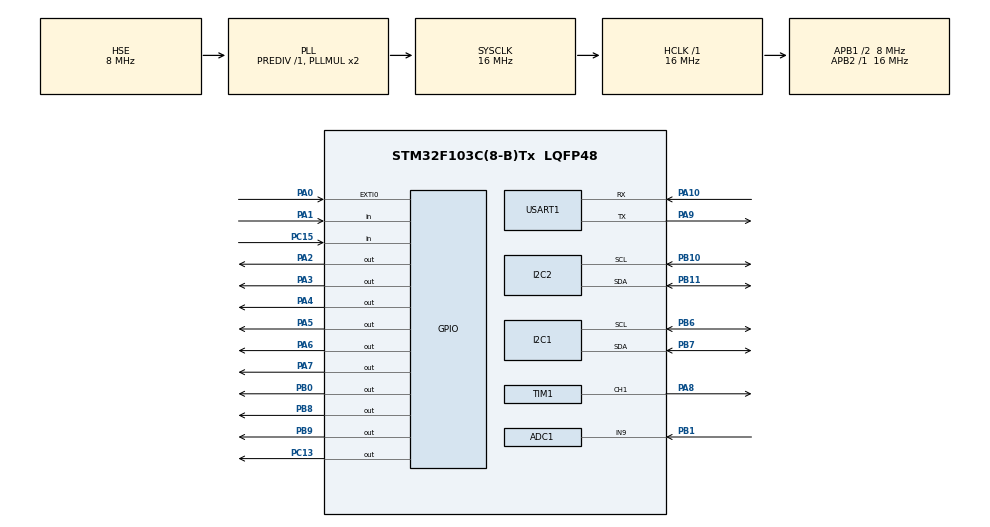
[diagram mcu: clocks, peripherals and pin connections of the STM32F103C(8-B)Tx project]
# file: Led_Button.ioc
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ADC1.Channel-1\#ChannelRegularConversion=ADC_CHANNEL_9
ADC1.NbrOfConversionFlag=1
ADC1.Rank-1\#ChannelRegularConversion=1
ADC1.SamplingTime-1\#ChannelRegularConversion=ADC_SAMPLETIME_1CYCLE_5
ADC1.master=1
Dma.Request0=USART1_RX
Dma.Request1=USART1_TX
Dma.USART1_RX.0.Direction=DMA_PERIPH_TO_MEMORY
Dma.USART1_RX.0.Instance=DMA1_Channel5
Dma.USART1_RX.0.MemDataAlignment=DMA_MDATAALIGN_BYTE
Dma.USART1_RX.0.MemInc=DMA_MINC_ENABLE
Dma.USART1_RX.0.Mode=DMA_NORMAL
Dma.USART1_RX.0.PeriphDataAlignment=DMA_PDATAALIGN_BYTE
Dma.USART1_RX.0.PeriphInc=DMA_PINC_DISABLE
Dma.USART1_RX.0.Priority=DMA_PRIORITY_LOW
Dma.USART1_TX.1.Direction=DMA_MEMORY_TO_PERIPH
Dma.USART1_TX.1.Instance=DMA1_Channel4
Dma.USART1_TX.1.MemDataAlignment=DMA_MDATAALIGN_BYTE
Dma.USART1_TX.1.MemInc=DMA_MINC_ENABLE
Dma.USART1_TX.1.Mode=DMA_CIRCULAR
Dma.USART1_TX.1.PeriphDataAlignment=DMA_PDATAALIGN_BYTE
Dma.USART1_TX.1.PeriphInc=DMA_PINC_DISABLE
Dma.USART1_TX.1.Priority=DMA_PRIORITY_LOW
I2C1.I2C_Mode=I2C_Fast
I2C2.I2C_Mode=I2C_Fast
Mcu.Family=STM32F1
Mcu.Name=STM32F103C(8-B)Tx
Mcu.Package=LQFP48
NVIC.DMA1_Channel4_IRQn=true\:0\:0\:false\:false\:true\:false\:true\:true
NVIC.DMA1_Channel5_IRQn=true\:0\:0\:false\:false\:true\:false\:true\:true
NVIC.EXTI0_IRQn=true\:0\:0\:false\:false\:true\:true\:true\:true
NVIC.PriorityGroup=NVIC_PRIORITYGROUP_4
NVIC.TIM2_IRQn=true\:0\:0\:false\:false\:true\:true\:true\:true
NVIC.TIM3_IRQn=true\:0\:0\:false\:false\:true\:true\:true\:true
NVIC.USART1_IRQn=true\:0\:0\:false\:false\:true\:true\:true\:true
PA0-WKUP.GPIO_ModeDefaultEXTI=GPIO_MODE_IT_FALLING
PA0-WKUP.Signal=GPXTI0
PA1.Signal=GPIO_Input
PA10.Mode=Asynchronous
PA10.Signal=USART1_RX
PA13.Mode=Serial_Wire
PA13.Signal=SYS_JTMS-SWDIO
PA14.Mode=Serial_Wire
PA14.Signal=SYS_JTCK-SWCLK
PA2.Signal=GPIO_Output
PA3.Signal=GPIO_Output
PA4.GPIO_PuPd=GPIO_PULLUP
PA4.Signal=GPIO_Output
PA5.Signal=GPIO_Output
PA6.Signal=GPIO_Output
PA7.Signal=GPIO_Output
PA8.Signal=S_TIM1_CH1
PA9.Mode=Asynchronous
PA9.Signal=USART1_TX
PB0.Signal=GPIO_Output
PB1.Signal=ADCx_IN9
PB10.Mode=I2C
PB10.Signal=I2C2_SCL
PB11.Mode=I2C
PB11.Signal=I2C2_SDA
PB6.Mode=I2C
PB6.Signal=I2C1_SCL
PB7.Mode=I2C
PB7.Signal=I2C1_SDA
PB8.Signal=GPIO_Output
PB9.Signal=GPIO_Output
PC13-TAMPER-RTC.Signal=GPIO_Output
PC15-OSC32_OUT.GPIO_PuPd=GPIO_PULLUP
PC15-OSC32_OUT.Signal=GPIO_Input
PD0-OSC_IN.Mode=HSE-External-Oscillator
PD0-OSC_IN.Signal=RCC_OSC_IN
PD1-OSC_OUT.Mode=HSE-External-Oscillator
PD1-OSC_OUT.Signal=RCC_OSC_OUT
ProjectManager.HeapSize=0x200
ProjectManager.StackSize=0x400
ProjectManager.TargetToolchain=MDK-ARM V5
RCC.AHBFreq_Value=16000000
RCC.APB1CLKDivider=RCC_HCLK_DIV2
RCC.APB1Freq_Value=8000000
RCC.APB1TimFreq_Value=16000000
RCC.APB2Freq_Value=16000000
RCC.APB2TimFreq_Value=16000000
RCC.HCLKFreq_Value=16000000
RCC.PLLSourceVirtual=RCC_PLLSOURCE_HSE
RCC.SYSCLKFreq_VALUE=16000000
RCC.SYSCLKSource=RCC_SYSCLKSOURCE_PLLCLK
RCC.USBFreq_Value=16000000
SH.ADCx_IN9.0=ADC1_IN9,IN9
SH.S_TIM1_CH1.0=TIM1_CH1,PWM Generation1 CH1
TIM1.Channel-PWM\ Generation1\ CH1=TIM_CHANNEL_1
TIM2.Period=10000-1
TIM2.Prescaler=72-1
TIM3.Period=10000-1
TIM3.Prescaler=7200-1
USART1.VirtualMode=VM_ASYNC
VP_TIM1_VS_ClockSourceINT.Mode=Internal
VP_TIM2_VS_ClockSourceINT.Mode=Internal
VP_TIM3_VS_ClockSourceINT.Mode=Internal
board=custom

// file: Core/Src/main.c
/* USER CODE BEGIN Header */
/**
  ******************************************************************************
  * @file           : main.c
  * @brief          : Main program body
  ******************************************************************************
  * @attention
  *
  * Copyright (c) 2025 STMicroelectronics.
  * All rights reserved.
  *
  * This software is licensed under terms that can be found in the LICENSE file
  * in the root directory of this software component.
  * If no LICENSE file comes with this software, it is provided AS-IS.
  *
  ******************************************************************************
  */
/* USER CODE END Header */
#include "main.h"

ADC_HandleTypeDef hadc1;

I2C_HandleTypeDef hi2c1;
I2C_HandleTypeDef hi2c2;

TIM_HandleTypeDef htim1;
TIM_HandleTypeDef htim2;
TIM_HandleTypeDef htim3;

UART_HandleTypeDef huart1;
DMA_HandleTypeDef hdma_usart1_rx;
DMA_HandleTypeDef hdma_usart1_tx;

void SystemClock_Config(void);
static void MX_GPIO_Init(void);
static void MX_DMA_Init(void);
static void MX_USART1_UART_Init(void);
static void MX_TIM1_Init(void);
static void MX_TIM2_Init(void);
static void MX_TIM3_Init(void);
static void MX_I2C2_Init(void);
static void MX_I2C1_Init(void);
static void MX_ADC1_Init(void);
/* USER CODE BEGIN PFP */
//=============INCLUDE LIBRARY=============//
#include <string.h>
#include <stdio.h>
#include <math.h>
#include <stdlib.h>

//=============DEFINE VARIABLE=============//
#define MCP4725_ADDR (0x60 << 1)

uint8_t RX_Data[17], TX_Data[29], Leech_Motor_Speed [3], LED_Status_Buffer [2], Each_Eeprom_Element[1];
uint8_t UART1_RX_Flag, LED_1_Status_Flag, LED_2_Status_Flag, LED_Status_Tracking_Flag, Store_LED_Status_Flag, Timer3_Delay_Flag, Store_Motor_Speed_Flag, Recover_Data_Flag;
uint8_t Forward_0D_Flag, Forward_45D_Flag, Forward_90D_Flag, Forward_180D_Flag, Forward_360D_Flag, Motor_Position_Tracking_Flag, Control_Motor_Speed_Flag, Control_Motor_Speed_Reverse_Flag;
uint8_t Mode_00_Flag, Mode_01_Flag, Mode_02_Flag, Mode_03_Flag, Mode_04_Flag, Mode_05_Flag, Mode_06_Flag, Mode_10_Flag;
uint8_t SRAM_Data_Address, SRAM_Read_Data, SRAM_Init_Data;
uint32_t ADC_Pt100_Zero = 0;

char *Char_RX_Data, Down_Line[] = "\r \n", RX_Hex_Data[29];
char Pulse_Buffer[13], Label_LED_Status_Buffer[13];

int pre_pulse, pulse, PWM_Duty_Cycle, Label_LED_Status;
int count, i;
int Iden_Control_Motor;
int SRAM_Case_Flag;

float setpoint = 0, Output_Voltage_Setpoint;
float pre_error, error;
float integral, derivative, duty_cycle_output;
float Kp = 10, Ki = 0.5, Kd = 0.1;
float Delta_t = 0.01;

/* USER CODE END PFP */

/* USER CODE BEGIN 0 */

//====================================EXTERNAL RAM======================================//
//======================================================================================//
//======================================================================================//

void SRAM_Set_Address(uint8_t addr)
{
	HAL_GPIO_WritePin(GPIOA, GPIO_PIN_5, (addr & 0x01) ? GPIO_PIN_SET : GPIO_PIN_RESET);
  HAL_GPIO_WritePin(GPIOA, GPIO_PIN_6, (addr & 0x02) ? GPIO_PIN_SET : GPIO_PIN_RESET);
  HAL_GPIO_WritePin(GPIOA, GPIO_PIN_7, (addr & 0x04) ? GPIO_PIN_SET : GPIO_PIN_RESET);
}

//=============CHANGE GPIO TO OUTPUT=============//
void SRAM_Write_Data(uint8_t data)
{
  HAL_GPIO_WritePin(GPIOA, GPIO_PIN_11, (data & 0x01) ? GPIO_PIN_SET : GPIO_PIN_RESET);
  HAL_GPIO_WritePin(GPIOA, GPIO_PIN_12, (data & 0x02) ? GPIO_PIN_SET : GPIO_PIN_RESET);
	HAL_GPIO_WritePin(GPIOA, GPIO_PIN_13, (data & 0x02) ? GPIO_PIN_SET : GPIO_PIN_RESET);
}

void SRAM_Write_Cycle(uint8_t address, uint8_t data)
{
  SRAM_Set_Address(address);
  SRAM_Write_Data(data);

  HAL_GPIO_WritePin(GPIOB, GPIO_PIN_0, GPIO_PIN_RESET); // !WE = 0 start write
  HAL_Delay(1);
  HAL_GPIO_WritePin(GPIOB, GPIO_PIN_0, GPIO_PIN_SET);   // !WE = 1 end write
  HAL_Delay(1);
}

//=============CHANGE GPIO TO INPUT=============//
uint8_t SRAM_ReadData(void)
{
  GPIO_InitTypeDef GPIO_InitStruct = {0};

  GPIO_InitStruct.Pin = GPIO_PIN_4 | GPIO_PIN_5 | GPIO_PIN_6;
  GPIO_InitStruct.Mode = GPIO_MODE_INPUT;
  GPIO_InitStruct.Pull = GPIO_NOPULL;
  HAL_GPIO_Init(GPIOB, &GPIO_InitStruct);

  uint8_t value = 0;
  value |= HAL_GPIO_ReadPin(GPIOB, GPIO_PIN_4) ? 0x01 : 0x00;
  value |= HAL_GPIO_ReadPin(GPIOB, GPIO_PIN_5) ? 0x02 : 0x00;
  value |= HAL_GPIO_ReadPin(GPIOB, GPIO_PIN_6) ? 0x04 : 0x00;

  GPIO_InitStruct.Mode = GPIO_MODE_OUTPUT_PP;
  GPIO_InitStruct.Speed = GPIO_SPEED_FREQ_LOW;
  HAL_GPIO_Init(GPIOB, &GPIO_InitStruct);

  return value;
}

uint8_t SRAM_Read_Cycle(uint8_t address)
{
  SRAM_Set_Address(address);

  HAL_GPIO_WritePin(GPIOB, GPIO_PIN_9, GPIO_PIN_SET);
  HAL_GPIO_WritePin(GPIOB, GPIO_PIN_8, GPIO_PIN_RESET);
  HAL_Delay(1);

  uint8_t data = SRAM_ReadData();

  HAL_GPIO_WritePin(GPIOB, GPIO_PIN_8, GPIO_PIN_SET);

  return data;
}

//=============CHECK SRAM COMMUNICATION=============//
void LED_Show(uint8_t data)
{
  HAL_GPIO_WritePin(GPIOB, GPIO_PIN_8, (data & 0x01) ? GPIO_PIN_SET : GPIO_PIN_RESET);
  HAL_GPIO_WritePin(GPIOB, GPIO_PIN_9, (data & 0x02) ? GPIO_PIN_SET : GPIO_PIN_RESET);
}

void SRAM_Set_Data()
{
	for (SRAM_Data_Address = 0, SRAM_Init_Data = 0; SRAM_Data_Address < 8; SRAM_Data_Address++)
		{
			SRAM_Init_Data ++;
																																																																																																																																																																																									if (SRAM_Init_Data > 7)	{SRAM_Case_Flag = 1;} else {SRAM_Case_Flag = 0;}
			uint8_t data = SRAM_Init_Data & 0x03;
			SRAM_Write_Cycle(SRAM_Data_Address, data);
			HAL_Delay(100);
		}
}

//=============READ DATA FROM SRAM=============//
void SRAM_Read_And_Check_Data()
{
	Mode_10_Flag = 0;
	for (SRAM_Data_Address = 0; SRAM_Data_Address < 8; SRAM_Data_Address++)
	{
		SRAM_Set_Address(SRAM_Data_Address);
		SRAM_Read_Data = SRAM_Read_Cycle(SRAM_Data_Address);
																																																																																																																																																																																										if (SRAM_Case_Flag == 1){SRAM_Read_Data = SRAM_Data_Address & 0x03;} else {SRAM_Read_Data = SRAM_Init_Data;}
		LED_Show(SRAM_Read_Data);

		HAL_Delay(500);
	}
}

//=======================================EEPROM=========================================//
//======================================================================================//
//======================================================================================//

void Recover_Data ()
{
	Recover_Data_Flag = 1;

	for(int i = 0, j = 0; i <= 2; i++)
	{
		HAL_I2C_Mem_Read(&hi2c1, 0xA0, i, 2, Each_Eeprom_Element, 1, 100);
		LED_Status_Buffer[j] = Each_Eeprom_Element[0];
		j++;
	}

	if (LED_Status_Buffer[0] == 0)
	{
		HAL_GPIO_WritePin(GPIOC, GPIO_PIN_13, 1);

		Label_LED_Status = 1000;
		int len = sprintf(Label_LED_Status_Buffer, "%d\r\n", Label_LED_Status);
		HAL_UART_Transmit (&huart1, (uint8_t *)Label_LED_Status_Buffer, len, HAL_MAX_DELAY);
	}
	else if (LED_Status_Buffer[0] == 1)
	{
		HAL_GPIO_WritePin(GPIOC, GPIO_PIN_13, 0);

		Label_LED_Status = 1001;
		int len = sprintf(Label_LED_Status_Buffer, "%d\r\n", Label_LED_Status);
		HAL_UART_Transmit (&huart1, (uint8_t *)Label_LED_Status_Buffer, len, HAL_MAX_DELAY);
	}

	if (LED_Status_Buffer[1] == 0)
	{
		HAL_GPIO_WritePin(GPIOA, GPIO_PIN_4, 0);

		Label_LED_Status = 1010;
		int len = sprintf(Label_LED_Status_Buffer, "%d\r\n", Label_LED_Status);
		HAL_UART_Transmit (&huart1, (uint8_t *)Label_LED_Status_Buffer, len, HAL_MAX_DELAY);
	}
	else if (LED_Status_Buffer[1] == 1)
	{
		HAL_GPIO_WritePin(GPIOA, GPIO_PIN_4, 1);

		Label_LED_Status = 1011;
		int len = sprintf(Label_LED_Status_Buffer, "%d\r\n", Label_LED_Status);
		HAL_UART_Transmit (&huart1, (uint8_t *)Label_LED_Status_Buffer, len, HAL_MAX_DELAY);
	}
}

//========================================DAC===========================================//
//======================================================================================//
//======================================================================================//

void MCP4725_SetVoltage(int Output_Voltage_Setpoint)
{
	uint8_t Output_Voltage_Buffer[3];

  Output_Voltage_Buffer[0] = 0x40;
  Output_Voltage_Buffer[1] = (Output_Voltage_Setpoint>> 4) & 0xFF;
  Output_Voltage_Buffer[2] = (Output_Voltage_Setpoint& 0x0F) << 4;

  HAL_I2C_Master_Transmit(&hi2c2, MCP4725_ADDR, Output_Voltage_Buffer, 3, HAL_MAX_DELAY);
}

void Change_Output_Voltage ()
{
	if (strncmp(Char_RX_Data, "00060000011", sizeof(RX_Data)) == 0)
	{
		Mode_06_Flag = 0;
	}

	Output_Voltage_Setpoint = (RX_Data[6] - '0') + (RX_Data[7] - '0') / 10.0;
	MCP4725_SetVoltage ((Output_Voltage_Setpoint * 4095) / 3);
}

//========================LED STATUS & MOTOR POSITION TRACKING==========================//
//======================================================================================//
//======================================================================================//

void Active_Inactive_Status_Tracking ()
{
	Timer3_Delay_Flag = 0;

	if ((LED_Status_Tracking_Flag == 0) && (Motor_Position_Tracking_Flag == 0))
	{
		Mode_03_Flag = 0;
	}

	if (LED_Status_Tracking_Flag == 0)
	{
		;
	}
	else if (LED_Status_Tracking_Flag == 1)
	{
		if (LED_1_Status_Flag == 1)
		{
			strcpy((char *)TX_Data, "LED 1 On \r\n");
			int len = strlen((char *)TX_Data);
			HAL_UART_Transmit (&huart1, (uint8_t *)TX_Data, len, HAL_MAX_DELAY);
		}
		else if (LED_1_Status_Flag == 0)
		{
			strcpy((char *)TX_Data, "LED 1 Off \r\n");
			int len = strlen((char *)TX_Data);
			HAL_UART_Transmit (&huart1, (uint8_t *)TX_Data, len, HAL_MAX_DELAY);
		}

		if (LED_2_Status_Flag == 1)
		{
			strcpy((char *)TX_Data, "LED 2 On \r\n");
			int len = strlen((char *)TX_Data);
			HAL_UART_Transmit (&huart1, (uint8_t *)TX_Data, len, HAL_MAX_DELAY);
		}
		else if (LED_2_Status_Flag == 0)
		{
			strcpy((char *)TX_Data, "LED 2 Off \r\n");
			int len = strlen((char *)TX_Data);
			HAL_UART_Transmit (&huart1, (uint8_t *)TX_Data, len, HAL_MAX_DELAY);
		}
	}

	if (Motor_Position_Tracking_Flag == 0)
	{
		;
	}
	else if (Motor_Position_Tracking_Flag == 1)
	{
		if (Forward_45D_Flag == 1)
		{
			strcpy((char *)TX_Data, "Motor position: 45 \r\n");
			int len = strlen((char *)TX_Data);
			HAL_UART_Transmit (&huart1, (uint8_t *)TX_Data, len, HAL_MAX_DELAY);
		}
		else if (Forward_90D_Flag == 1)
		{
			strcpy((char *)TX_Data, "Motor position: 90 \r\n");
			int len = strlen((char *)TX_Data);
			HAL_UART_Transmit (&huart1, (uint8_t *)TX_Data, len, HAL_MAX_DELAY);
		}
		else if (Forward_180D_Flag == 1)
		{
			strcpy((char *)TX_Data, "Motor position: 180 \r\n");
			int len = strlen((char *)TX_Data);
			HAL_UART_Transmit (&huart1, (uint8_t *)TX_Data, len, HAL_MAX_DELAY);
		}
		else if (Forward_360D_Flag == 1)
		{
			strcpy((char *)TX_Data, "Motor position: 360 \r\n");
			int len = strlen((char *)TX_Data);
			HAL_UART_Transmit (&huart1, (uint8_t *)TX_Data, len, HAL_MAX_DELAY);
		}
	}
}

//=====================================DRAW GRAPH=======================================//
//======================================================================================//
//======================================================================================//

void Pulse_Transmit_Via_Com ()
{
	int len = sprintf(Pulse_Buffer, "%d\r\n",pulse);
	HAL_UART_Transmit (&huart1, (uint8_t *)Pulse_Buffer, len, HAL_MAX_DELAY);
	HAL_Delay(5);
}

//====================================CONTROL MOTOR=====================================//
//======================================================================================//
//======================================================================================//

//=============CHANGE MOTOR POSITION=============//
void Change_Motor_Position ()
{
	Mode_01_Flag = 0;

	if (Iden_Control_Motor % 2 == 1)
	{
		//FORWARD 0 DEG//
		if (Forward_0D_Flag == 1)
		{
			count++;
			setpoint = 0;
			Kp = 10;
			Ki = 0.5;
			Kd = 0.1;

			Forward_0D_Flag = 0;
		}

		//FORWARD 45 DEG//
		if (Forward_45D_Flag == 1)
		{
			setpoint = 224/8;
			Kp = 10;
			Ki = 0.5;
			Kd = 0.1;

			Forward_45D_Flag = 0;
		}

		//FORWARD 90 DEG//
		if (Forward_90D_Flag == 1)
		{
			setpoint = 224/4;
			Kp = 10;
			Ki = 0.5;
			Kd = 0.1;

			Forward_90D_Flag = 0;
}

		//FORWARD 180 DEG//
		if (Forward_180D_Flag == 1)
		{
			setpoint = 224/2;
			Kp = 20;
			Ki = 0.5;
			Kd = 0.1;

			Forward_180D_Flag = 0;
		}

		//FORWARD 360 DEG//
		if (Forward_360D_Flag == 1)
		{
			setpoint = setpoint + 224/1;
			Kp = 20;
			Ki = 0.5;
			Kd = 0.01;

			Forward_360D_Flag = 0;
		}
	}
}

//=============GENERATE PWM SIGNAL BY TIMER 1=============//

void Generate_PWM (TIM_HandleTypeDef *htim, uint32_t Channel, float Duty_Cycle)
{
	Duty_Cycle = Duty_Cycle / 100 * htim->Instance->ARR;
	__HAL_TIM_SET_COMPARE(&htim1, Channel, (uint16_t)Duty_Cycle);
}

//=============CONTROL POSITION=============//

void Control_Forward ()
{
	HAL_GPIO_WritePin(GPIOA, GPIO_PIN_2, 0);
	HAL_GPIO_WritePin(GPIOA, GPIO_PIN_3, 1);
	HAL_GPIO_WritePin(GPIOA, GPIO_PIN_8, 1);
}

void Control_Reverse ()
{
	HAL_GPIO_WritePin(GPIOA, GPIO_PIN_2, 1);
	HAL_GPIO_WritePin(GPIOA, GPIO_PIN_3, 0);
	HAL_GPIO_WritePin(GPIOA, GPIO_PIN_8, 1);
}

void Control_Stop ()
{
	HAL_GPIO_WritePin(GPIOA, GPIO_PIN_2, 0);
	HAL_GPIO_WritePin(GPIOA, GPIO_PIN_3, 0);
	HAL_GPIO_WritePin(GPIOA, GPIO_PIN_8, 0);
}

void Control_Position ()
{
	if (duty_cycle_output > 0)
	{
		Control_Forward();
		Generate_PWM(&htim1, TIM_CHANNEL_1, duty_cycle_output);
	}

	if (duty_cycle_output < 0)
	{
		Control_Reverse();
		Generate_PWM(&htim1, TIM_CHANNEL_1, - duty_cycle_output);
	}

	if (duty_cycle_output == 0)
	{
		Control_Stop();
		Generate_PWM(&htim1, TIM_CHANNEL_1, duty_cycle_output);
	}
}

//=============CONTROL MOTOR SPEED=============//

void Control_Motor_Speed ()
{
	Mode_04_Flag = 0;

	if (Control_Motor_Speed_Flag == 1)
	{
		HAL_TIM_Base_Stop_IT (&htim2);	//Disable encoder timer2 response interupt avoid PID conflict

		HAL_TIM_PWM_Start(&htim1,TIM_CHANNEL_1);

		if (Control_Motor_Speed_Reverse_Flag == 1)
		{
			Control_Reverse ();
		}
		else
		{
			Control_Forward ();
			memcpy(Leech_Motor_Speed, &RX_Data[5], 3);
		}

		PWM_Duty_Cycle = atoi((char*)Leech_Motor_Speed);
		Generate_PWM (&htim1, TIM_CHANNEL_1, PWM_Duty_Cycle);
	}
	else if (Control_Motor_Speed_Flag == 0)
	{
		HAL_TIM_Base_Start_IT (&htim2);
		Generate_PWM (&htim1, TIM_CHANNEL_1, 0);
		pulse = 0;
	}
}

//=============ENCODER PULSE COUNTING=============//

void HAL_GPIO_EXTI_Callback(uint16_t GPIO_Pin)
{
	if (HAL_GPIO_ReadPin(GPIOA, GPIO_PIN_1) == 0)
	{
		pulse++;
	}
	else
	{
		pulse--;
	}
}

//=============PID CACULATION & ACTIVE TIMER INTERUPT=============//

void HAL_TIM_PeriodElapsedCallback(TIM_HandleTypeDef *htim)
{
	if (htim == &htim2)
	{
		error = setpoint - pulse;
		integral = integral + (error * Delta_t);
		derivative = (error - pre_error) / Delta_t;
		duty_cycle_output = 	(Kp * error) + (Ki * integral) + (Kd * derivative);

		if (duty_cycle_output > 100)
		{
			duty_cycle_output = 100;
		}

		if (duty_cycle_output < -100)
		{
			duty_cycle_output = -100;
		}

		pre_error = error;

		Control_Position();
	}

	if (htim == &htim3)
	{
		Timer3_Delay_Flag = 1;
	}

}

//=================================UART COMMUNICATTION==================================//
//======================================================================================//
//======================================================================================//

//=============UART RECEIVE CHECKING=============//

void HAL_UARTEx_RxEventCallback (UART_HandleTypeDef *huart, uint16_t Size)
{
	if (huart->Instance == USART1)
	{
			UART1_RX_Flag = 1;
	}
}

//=============UART RECEIVE PROCESSING=============//

void UART1_RX_Processing ()
{
	UART1_RX_Flag = 0;

	HAL_UARTEx_ReceiveToIdle_DMA (&huart1, RX_Data, sizeof(RX_Data));

	Char_RX_Data = (char*)RX_Data;

	//MODE 00 - CONTROL LED//
	if ((strncmp(Char_RX_Data, "0000", 4) == 0) && (strncmp(&Char_RX_Data[9], "1", 1) == 0))
	{
		Mode_00_Flag = 1;

		if (strncmp(Char_RX_Data, "00000000011", sizeof(RX_Data)) == 0)
		{
			LED_1_Status_Flag = 0;
		}
		else if (strncmp(Char_RX_Data, "00000001011", sizeof(RX_Data)) == 0)
		{
			LED_1_Status_Flag = 1;
		}

		if (strncmp(Char_RX_Data, "00000010011", sizeof(RX_Data)) == 0)
		{
			LED_2_Status_Flag = 0;
		}
		else if (strncmp(Char_RX_Data, "00000011011", sizeof(RX_Data)) == 0)
		{
			LED_2_Status_Flag = 1;
		}
	}

	//MODE 01 - CONTROL MOTOR POSITION//
	if ((strncmp(Char_RX_Data, "0001", 4) == 0) && (strncmp(&Char_RX_Data[9], "1", 1) == 0))
	{
		Mode_01_Flag = 1;

		if (strncmp(Char_RX_Data, "00010000011", sizeof(RX_Data)) == 0)
		{
			Forward_0D_Flag = 1;
		}

		if (strncmp(Char_RX_Data, "0001002D011", sizeof(RX_Data)) == 0)
		{
			Forward_45D_Flag = 1;
		}

		if (strncmp(Char_RX_Data, "0001005A011", sizeof(RX_Data)) == 0)
		{
			Forward_90D_Flag = 1;
		}

		if (strncmp(Char_RX_Data, "000100B4011", sizeof(RX_Data)) == 0)
		{
			Forward_180D_Flag = 1;
		}

		if (strncmp(Char_RX_Data, "00010168011", sizeof(RX_Data)) == 0)
		{
			Forward_360D_Flag = 1;
		}
	}

	//MODE 02 - ACTIVE/INACTIVE PULSE TRANSFERING//
	if ((strncmp(Char_RX_Data, "0002", 4) == 0) && (strncmp(&Char_RX_Data[9], "1", 1) == 0))
	{
		if (strncmp(Char_RX_Data, "00020000011", sizeof(RX_Data)) == 0)
		{
			Mode_02_Flag = 0;
		}

		if (strncmp(Char_RX_Data, "00020001011", sizeof(RX_Data)) == 0)
		{
			Mode_02_Flag = 1;
		}
	}

	//MODE 03 - ACTIVE/INACTIVE STATUS TRACKING//
	if ((strncmp(Char_RX_Data, "0003", 4) == 0) && (strncmp(&Char_RX_Data[9], "1", 1) == 0))
	{
		Mode_03_Flag = 1;

		if (strncmp(Char_RX_Data, "00030000011", sizeof(RX_Data)) == 0)
		{
			LED_Status_Tracking_Flag = 0;
		}

		else if (strncmp(Char_RX_Data, "00030001011", sizeof(RX_Data)) == 0)
		{
			LED_Status_Tracking_Flag = 1;
		}

		if (strncmp(Char_RX_Data, "00030010011", sizeof(RX_Data)) == 0)
		{
			Motor_Position_Tracking_Flag = 0;
		}

		else if (strncmp(Char_RX_Data, "00030011011", sizeof(RX_Data)) == 0)
		{
			Motor_Position_Tracking_Flag = 1;
		}
	}

	//MODE 04 - CONTROL MOTOR SPEED//
	if ((strncmp(Char_RX_Data, "0004", 4) == 0) && (strncmp(&Char_RX_Data[9], "1", 1) == 0))
	{
		Mode_04_Flag = 1;

		if ((memcmp(&Char_RX_Data[4], "0", 1) == 0) || (memcmp(&Char_RX_Data[4], "1", 1) == 0))
		{
			Control_Motor_Speed_Flag = 1;

			if (strncmp(Char_RX_Data, "00041000011", sizeof(RX_Data)) == 0)
			{
				Control_Motor_Speed_Reverse_Flag = 1;
			}

		}
		else if (memcmp(&Char_RX_Data[4], "FFFF", 4) == 0)
		{
			Control_Motor_Speed_Flag = 0;
		}
	}

	//MODE 05 - STORE LED STATUS & MOTOR SPEED//
	if ((strncmp(Char_RX_Data, "0005", 4) == 0) && (strncmp(&Char_RX_Data[9], "1", 1) == 0))
	{
		Mode_05_Flag = 1;

		if (strncmp(Char_RX_Data, "00050001011", sizeof(RX_Data)) == 0)
		{
			Store_LED_Status_Flag = 1;
		}

		if (strncmp(Char_RX_Data, "00050011011", sizeof(RX_Data)) == 0)
		{
			Store_Motor_Speed_Flag = 1;
		}
	}
	//MODE 06 - DAC//
	if ((strncmp(Char_RX_Data, "0006", 4) == 0) && (strncmp(&Char_RX_Data[9], "1", 1) == 0))
	{
		if (memcmp(&Char_RX_Data[4], "00", 2) == 0)
		{
			Mode_06_Flag = 1;
		}
	}

	//MODE 10 - EXTERNAL RAM//
	if ((strncmp(Char_RX_Data, "0010", 4) == 0) && (strncmp(&Char_RX_Data[9], "1", 1) == 0))
	{
		if (strncmp(Char_RX_Data, "00100000011", sizeof(RX_Data)) == 0)
		{
			Mode_10_Flag = 1;
		}
	}
}

//=============EEPROM PROCESSING=============//

void EEPROM_Processing ()
{
	Mode_05_Flag = 0;

	if (Store_LED_Status_Flag == 1)
	{
		for(int i = 0; i <= 2; i++)
	{
		HAL_I2C_Mem_Write(&hi2c1, 0xA0, i, 2, &LED_Status_Buffer[i], 1, 100);
		HAL_Delay(5);
	}
	}
}

//=====================================CONTROL LED======================================//
//======================================================================================//
//======================================================================================//

void LED_Control ()
{
	Mode_00_Flag = 0;

	if (LED_1_Status_Flag == 0)
	{
		HAL_GPIO_WritePin(GPIOC, GPIO_PIN_13, 1);
		LED_Status_Buffer [0] = 0;
	}
	else if (LED_1_Status_Flag == 1)
	{
		HAL_GPIO_WritePin(GPIOC, GPIO_PIN_13, 0);
		LED_Status_Buffer [0] = 1;
	}

	if (LED_2_Status_Flag == 0)
	{
		HAL_GPIO_WritePin(GPIOA, GPIO_PIN_4, 0);
		LED_Status_Buffer [1] = 0;
	}
	else if (LED_2_Status_Flag == 1)
	{
		HAL_GPIO_WritePin(GPIOA, GPIO_PIN_4, 1);
		LED_Status_Buffer [1] = 1;
	}
}

/* USER CODE END 0 */

int main(void)
{

  /* MCU Configuration--------------------------------------------------------*/

  /* Reset of all peripherals, Initializes the Flash interface and the Systick. */
  HAL_Init();

  /* Configure the system clock */
  SystemClock_Config();

  /* Initialize all configured peripherals */
  MX_GPIO_Init();
  MX_DMA_Init();
  MX_USART1_UART_Init();
  MX_TIM1_Init();
  MX_TIM2_Init();
  MX_TIM3_Init();
  MX_I2C2_Init();
  MX_I2C1_Init();
  MX_ADC1_Init();
  /* USER CODE BEGIN 2 */
	//=============ACTIVE UART RECEIVING WITH IDLE AND DMA MODE=============//
	HAL_UARTEx_ReceiveToIdle_DMA (&huart1, RX_Data, sizeof(RX_Data));

	//=============ACTIVE PWM MODE VIA TIMER=============//
	HAL_TIM_PWM_Start (&htim1, TIM_CHANNEL_1);

	//=============ACTIVE TIMER INTERUPT=============//
	HAL_TIM_Base_Start_IT (&htim2);
	HAL_TIM_Base_Start_IT (&htim3);

	//=============SET DATA TO WRITE INTO SRAM=============/
	SRAM_Set_Data();
  /* USER CODE END 2 */

  /* Infinite loop */
  /* USER CODE BEGIN WHILE */

  while (1)
  {
		HAL_ADC_Start(&hadc1);
		HAL_Delay(50);
		ADC_Pt100_Zero = HAL_ADC_GetValue(&hadc1);
		HAL_ADC_Stop(&hadc1);

		uint8_t Opto_Digital_Input = HAL_GPIO_ReadPin (GPIOC, GPIO_PIN_15);
    /* USER CODE END WHILE */

    /* USER CODE BEGIN 3 */
		if (UART1_RX_Flag == 1)
		{
			UART1_RX_Flag = 0;
			UART1_RX_Processing ();
		}

		if (Mode_00_Flag == 1)
		{
			LED_Control ();
		}

		if (Mode_01_Flag == 1)
		{
			Iden_Control_Motor++;
			Change_Motor_Position ();
		}

		if (Mode_02_Flag == 1)
		{
			Pulse_Transmit_Via_Com ();
		}

		if ((Mode_03_Flag == 1) && (Timer3_Delay_Flag == 1))
		{
			Active_Inactive_Status_Tracking ();
		}

		if (Mode_04_Flag == 1)
		{
			Control_Motor_Speed ();
		}

		if (Mode_05_Flag == 1)
		{
			EEPROM_Processing ();
		}

		if (Recover_Data_Flag == 0)
		{
			Recover_Data ();
		}

		if (Mode_06_Flag == 1)
		{
			Change_Output_Voltage ();
		}

		if (Mode_10_Flag == 1)
		{
			SRAM_Read_And_Check_Data();
		}
	}
  /* USER CODE END 3 */
}

void SystemClock_Config(void)
{
  RCC_OscInitTypeDef RCC_OscInitStruct = {0};
  RCC_ClkInitTypeDef RCC_ClkInitStruct = {0};
  RCC_PeriphCLKInitTypeDef PeriphClkInit = {0};

  /** Initializes the RCC Oscillators according to the specified parameters
  * in the RCC_OscInitTypeDef structure.
  */
  RCC_OscInitStruct.OscillatorType = RCC_OSCILLATORTYPE_HSE;
  RCC_OscInitStruct.HSEState = RCC_HSE_ON;
  RCC_OscInitStruct.HSEPredivValue = RCC_HSE_PREDIV_DIV1;
  RCC_OscInitStruct.HSIState = RCC_HSI_ON;
  RCC_OscInitStruct.PLL.PLLState = RCC_PLL_ON;
  RCC_OscInitStruct.PLL.PLLSource = RCC_PLLSOURCE_HSE;
  RCC_OscInitStruct.PLL.PLLMUL = RCC_PLL_MUL2;
  if (HAL_RCC_OscConfig(&RCC_OscInitStruct) != HAL_OK)
  {
    Error_Handler();
  }

  /** Initializes the CPU, AHB and APB buses clocks
  */
  RCC_ClkInitStruct.ClockType = RCC_CLOCKTYPE_HCLK|RCC_CLOCKTYPE_SYSCLK
                              |RCC_CLOCKTYPE_PCLK1|RCC_CLOCKTYPE_PCLK2;
  RCC_ClkInitStruct.SYSCLKSource = RCC_SYSCLKSOURCE_PLLCLK;
  RCC_ClkInitStruct.AHBCLKDivider = RCC_SYSCLK_DIV1;
  RCC_ClkInitStruct.APB1CLKDivider = RCC_HCLK_DIV2;
  RCC_ClkInitStruct.APB2CLKDivider = RCC_HCLK_DIV1;

  if (HAL_RCC_ClockConfig(&RCC_ClkInitStruct, FLASH_LATENCY_0) != HAL_OK)
  {
    Error_Handler();
  }
  PeriphClkInit.PeriphClockSelection = RCC_PERIPHCLK_ADC;
  PeriphClkInit.AdcClockSelection = RCC_ADCPCLK2_DIV2;
  if (HAL_RCCEx_PeriphCLKConfig(&PeriphClkInit) != HAL_OK)
  {
    Error_Handler();
  }
}

static void MX_ADC1_Init(void)
{

  ADC_ChannelConfTypeDef sConfig = {0};

  /** Common config
  */
  hadc1.Instance = ADC1;
  hadc1.Init.ScanConvMode = ADC_SCAN_DISABLE;
  hadc1.Init.ContinuousConvMode = DISABLE;
  hadc1.Init.DiscontinuousConvMode = DISABLE;
  hadc1.Init.ExternalTrigConv = ADC_SOFTWARE_START;
  hadc1.Init.DataAlign = ADC_DATAALIGN_RIGHT;
  hadc1.Init.NbrOfConversion = 1;
  if (HAL_ADC_Init(&hadc1) != HAL_OK)
  {
    Error_Handler();
  }

  /** Configure Regular Channel
  */
  sConfig.Channel = ADC_CHANNEL_9;
  sConfig.Rank = ADC_REGULAR_RANK_1;
  sConfig.SamplingTime = ADC_SAMPLETIME_1CYCLE_5;
  if (HAL_ADC_ConfigChannel(&hadc1, &sConfig) != HAL_OK)
  {
    Error_Handler();
  }

}

static void MX_I2C1_Init(void)
{

  hi2c1.Instance = I2C1;
  hi2c1.Init.ClockSpeed = 400000;
  hi2c1.Init.DutyCycle = I2C_DUTYCYCLE_2;
  hi2c1.Init.OwnAddress1 = 0;
  hi2c1.Init.AddressingMode = I2C_ADDRESSINGMODE_7BIT;
  hi2c1.Init.DualAddressMode = I2C_DUALADDRESS_DISABLE;
  hi2c1.Init.OwnAddress2 = 0;
  hi2c1.Init.GeneralCallMode = I2C_GENERALCALL_DISABLE;
  hi2c1.Init.NoStretchMode = I2C_NOSTRETCH_DISABLE;
  if (HAL_I2C_Init(&hi2c1) != HAL_OK)
  {
    Error_Handler();
  }

}

static void MX_I2C2_Init(void)
{

  hi2c2.Instance = I2C2;
  hi2c2.Init.ClockSpeed = 400000;
  hi2c2.Init.DutyCycle = I2C_DUTYCYCLE_2;
  hi2c2.Init.OwnAddress1 = 0;
  hi2c2.Init.AddressingMode = I2C_ADDRESSINGMODE_7BIT;
  hi2c2.Init.DualAddressMode = I2C_DUALADDRESS_DISABLE;
  hi2c2.Init.OwnAddress2 = 0;
  hi2c2.Init.GeneralCallMode = I2C_GENERALCALL_DISABLE;
  hi2c2.Init.NoStretchMode = I2C_NOSTRETCH_DISABLE;
  if (HAL_I2C_Init(&hi2c2) != HAL_OK)
  {
    Error_Handler();
  }

}

static void MX_TIM1_Init(void)
{

  TIM_ClockConfigTypeDef sClockSourceConfig = {0};
  TIM_MasterConfigTypeDef sMasterConfig = {0};
  TIM_OC_InitTypeDef sConfigOC = {0};
  TIM_BreakDeadTimeConfigTypeDef sBreakDeadTimeConfig = {0};

  htim1.Instance = TIM1;
  htim1.Init.Prescaler = 0;
  htim1.Init.CounterMode = TIM_COUNTERMODE_UP;
  htim1.Init.Period = 65535;
  htim1.Init.ClockDivision = TIM_CLOCKDIVISION_DIV1;
  htim1.Init.RepetitionCounter = 0;
  htim1.Init.AutoReloadPreload = TIM_AUTORELOAD_PRELOAD_DISABLE;
  if (HAL_TIM_Base_Init(&htim1) != HAL_OK)
  {
    Error_Handler();
  }
  sClockSourceConfig.ClockSource = TIM_CLOCKSOURCE_INTERNAL;
  if (HAL_TIM_ConfigClockSource(&htim1, &sClockSourceConfig) != HAL_OK)
  {
    Error_Handler();
  }
  if (HAL_TIM_PWM_Init(&htim1) != HAL_OK)
  {
    Error_Handler();
  }
  sMasterConfig.MasterOutputTrigger = TIM_TRGO_RESET;
  sMasterConfig.MasterSlaveMode = TIM_MASTERSLAVEMODE_DISABLE;
  if (HAL_TIMEx_MasterConfigSynchronization(&htim1, &sMasterConfig) != HAL_OK)
  {
    Error_Handler();
  }
  sConfigOC.OCMode = TIM_OCMODE_PWM1;
  sConfigOC.Pulse = 0;
  sConfigOC.OCPolarity = TIM_OCPOLARITY_HIGH;
  sConfigOC.OCNPolarity = TIM_OCNPOLARITY_HIGH;
  sConfigOC.OCFastMode = TIM_OCFAST_DISABLE;
  sConfigOC.OCIdleState = TIM_OCIDLESTATE_RESET;
  sConfigOC.OCNIdleState = TIM_OCNIDLESTATE_RESET;
  if (HAL_TIM_PWM_ConfigChannel(&htim1, &sConfigOC, TIM_CHANNEL_1) != HAL_OK)
  {
    Error_Handler();
  }
  sBreakDeadTimeConfig.OffStateRunMode = TIM_OSSR_DISABLE;
  sBreakDeadTimeConfig.OffStateIDLEMode = TIM_OSSI_DISABLE;
  sBreakDeadTimeConfig.LockLevel = TIM_LOCKLEVEL_OFF;
  sBreakDeadTimeConfig.DeadTime = 0;
  sBreakDeadTimeConfig.BreakState = TIM_BREAK_DISABLE;
  sBreakDeadTimeConfig.BreakPolarity = TIM_BREAKPOLARITY_HIGH;
  sBreakDeadTimeConfig.AutomaticOutput = TIM_AUTOMATICOUTPUT_DISABLE;
  if (HAL_TIMEx_ConfigBreakDeadTime(&htim1, &sBreakDeadTimeConfig) != HAL_OK)
  {
    Error_Handler();
  }
  HAL_TIM_MspPostInit(&htim1);

}

static void MX_TIM2_Init(void)
{

  TIM_ClockConfigTypeDef sClockSourceConfig = {0};
  TIM_MasterConfigTypeDef sMasterConfig = {0};

  htim2.Instance = TIM2;
  htim2.Init.Prescaler = 72-1;
  htim2.Init.CounterMode = TIM_COUNTERMODE_UP;
  htim2.Init.Period = 10000-1;
  htim2.Init.ClockDivision = TIM_CLOCKDIVISION_DIV1;
  htim2.Init.AutoReloadPreload = TIM_AUTORELOAD_PRELOAD_DISABLE;
  if (HAL_TIM_Base_Init(&htim2) != HAL_OK)
  {
    Error_Handler();
  }
  sClockSourceConfig.ClockSource = TIM_CLOCKSOURCE_INTERNAL;
  if (HAL_TIM_ConfigClockSource(&htim2, &sClockSourceConfig) != HAL_OK)
  {
    Error_Handler();
  }
  sMasterConfig.MasterOutputTrigger = TIM_TRGO_RESET;
  sMasterConfig.MasterSlaveMode = TIM_MASTERSLAVEMODE_DISABLE;
  if (HAL_TIMEx_MasterConfigSynchronization(&htim2, &sMasterConfig) != HAL_OK)
  {
    Error_Handler();
  }

}

static void MX_TIM3_Init(void)
{

  TIM_ClockConfigTypeDef sClockSourceConfig = {0};
  TIM_MasterConfigTypeDef sMasterConfig = {0};

  htim3.Instance = TIM3;
  htim3.Init.Prescaler = 7200-1;
  htim3.Init.CounterMode = TIM_COUNTERMODE_UP;
  htim3.Init.Period = 10000-1;
  htim3.Init.ClockDivision = TIM_CLOCKDIVISION_DIV1;
  htim3.Init.AutoReloadPreload = TIM_AUTORELOAD_PRELOAD_DISABLE;
  if (HAL_TIM_Base_Init(&htim3) != HAL_OK)
  {
    Error_Handler();
  }
  sClockSourceConfig.ClockSource = TIM_CLOCKSOURCE_INTERNAL;
  if (HAL_TIM_ConfigClockSource(&htim3, &sClockSourceConfig) != HAL_OK)
  {
    Error_Handler();
  }
  sMasterConfig.MasterOutputTrigger = TIM_TRGO_RESET;
  sMasterConfig.MasterSlaveMode = TIM_MASTERSLAVEMODE_DISABLE;
  if (HAL_TIMEx_MasterConfigSynchronization(&htim3, &sMasterConfig) != HAL_OK)
  {
    Error_Handler();
  }

}

static void MX_USART1_UART_Init(void)
{

  huart1.Instance = USART1;
  huart1.Init.BaudRate = 115200;
  huart1.Init.WordLength = UART_WORDLENGTH_8B;
  huart1.Init.StopBits = UART_STOPBITS_1;
  huart1.Init.Parity = UART_PARITY_NONE;
  huart1.Init.Mode = UART_MODE_TX_RX;
  huart1.Init.HwFlowCtl = UART_HWCONTROL_NONE;
  huart1.Init.OverSampling = UART_OVERSAMPLING_16;
  if (HAL_UART_Init(&huart1) != HAL_OK)
  {
    Error_Handler();
  }

}

static void MX_DMA_Init(void)
{

  /* DMA controller clock enable */
  __HAL_RCC_DMA1_CLK_ENABLE();

  /* DMA interrupt init */
  /* DMA1_Channel4_IRQn interrupt configuration */
  HAL_NVIC_SetPriority(DMA1_Channel4_IRQn, 0, 0);
  HAL_NVIC_EnableIRQ(DMA1_Channel4_IRQn);
  /* DMA1_Channel5_IRQn interrupt configuration */
  HAL_NVIC_SetPriority(DMA1_Channel5_IRQn, 0, 0);
  HAL_NVIC_EnableIRQ(DMA1_Channel5_IRQn);

}

static void MX_GPIO_Init(void)
{
  GPIO_InitTypeDef GPIO_InitStruct = {0};

  /* GPIO Ports Clock Enable */
  __HAL_RCC_GPIOC_CLK_ENABLE();
  __HAL_RCC_GPIOD_CLK_ENABLE();
  __HAL_RCC_GPIOA_CLK_ENABLE();
  __HAL_RCC_GPIOB_CLK_ENABLE();

  /*Configure GPIO pin Output Level */
  HAL_GPIO_WritePin(GPIOC, GPIO_PIN_13, GPIO_PIN_RESET);

  /*Configure GPIO pin Output Level */
  HAL_GPIO_WritePin(GPIOA, GPIO_PIN_2|GPIO_PIN_3|GPIO_PIN_4|GPIO_PIN_5
                          |GPIO_PIN_6|GPIO_PIN_7, GPIO_PIN_RESET);

  /*Configure GPIO pin Output Level */
  HAL_GPIO_WritePin(GPIOB, GPIO_PIN_0|GPIO_PIN_8|GPIO_PIN_9, GPIO_PIN_RESET);

  /*Configure GPIO pin : PC13 */
  GPIO_InitStruct.Pin = GPIO_PIN_13;
  GPIO_InitStruct.Mode = GPIO_MODE_OUTPUT_PP;
  GPIO_InitStruct.Pull = GPIO_NOPULL;
  GPIO_InitStruct.Speed = GPIO_SPEED_FREQ_LOW;
  HAL_GPIO_Init(GPIOC, &GPIO_InitStruct);

  /*Configure GPIO pin : PC15 */
  GPIO_InitStruct.Pin = GPIO_PIN_15;
  GPIO_InitStruct.Mode = GPIO_MODE_INPUT;
  GPIO_InitStruct.Pull = GPIO_PULLUP;
  HAL_GPIO_Init(GPIOC, &GPIO_InitStruct);

  /*Configure GPIO pin : PA0 */
  GPIO_InitStruct.Pin = GPIO_PIN_0;
  GPIO_InitStruct.Mode = GPIO_MODE_IT_FALLING;
  GPIO_InitStruct.Pull = GPIO_NOPULL;
  HAL_GPIO_Init(GPIOA, &GPIO_InitStruct);

  /*Configure GPIO pin : PA1 */
  GPIO_InitStruct.Pin = GPIO_PIN_1;
  GPIO_InitStruct.Mode = GPIO_MODE_INPUT;
  GPIO_InitStruct.Pull = GPIO_NOPULL;
  HAL_GPIO_Init(GPIOA, &GPIO_InitStruct);

  /*Configure GPIO pins : PA2 PA3 PA5 PA6
                           PA7 */
  GPIO_InitStruct.Pin = GPIO_PIN_2|GPIO_PIN_3|GPIO_PIN_5|GPIO_PIN_6
                          |GPIO_PIN_7;
  GPIO_InitStruct.Mode = GPIO_MODE_OUTPUT_PP;
  GPIO_InitStruct.Pull = GPIO_NOPULL;
  GPIO_InitStruct.Speed = GPIO_SPEED_FREQ_LOW;
  HAL_GPIO_Init(GPIOA, &GPIO_InitStruct);

  /*Configure GPIO pin : PA4 */
  GPIO_InitStruct.Pin = GPIO_PIN_4;
  GPIO_InitStruct.Mode = GPIO_MODE_OUTPUT_PP;
  GPIO_InitStruct.Pull = GPIO_PULLUP;
  GPIO_InitStruct.Speed = GPIO_SPEED_FREQ_LOW;
  HAL_GPIO_Init(GPIOA, &GPIO_InitStruct);

  /*Configure GPIO pins : PB0 PB8 PB9 */
  GPIO_InitStruct.Pin = GPIO_PIN_0|GPIO_PIN_8|GPIO_PIN_9;
  GPIO_InitStruct.Mode = GPIO_MODE_OUTPUT_PP;
  GPIO_InitStruct.Pull = GPIO_NOPULL;
  GPIO_InitStruct.Speed = GPIO_SPEED_FREQ_LOW;
  HAL_GPIO_Init(GPIOB, &GPIO_InitStruct);

  /* EXTI interrupt init*/
  HAL_NVIC_SetPriority(EXTI0_IRQn, 0, 0);
  HAL_NVIC_EnableIRQ(EXTI0_IRQn);

}

void Error_Handler(void)
{
  __disable_irq();
  while (1)
  {
  }
}
